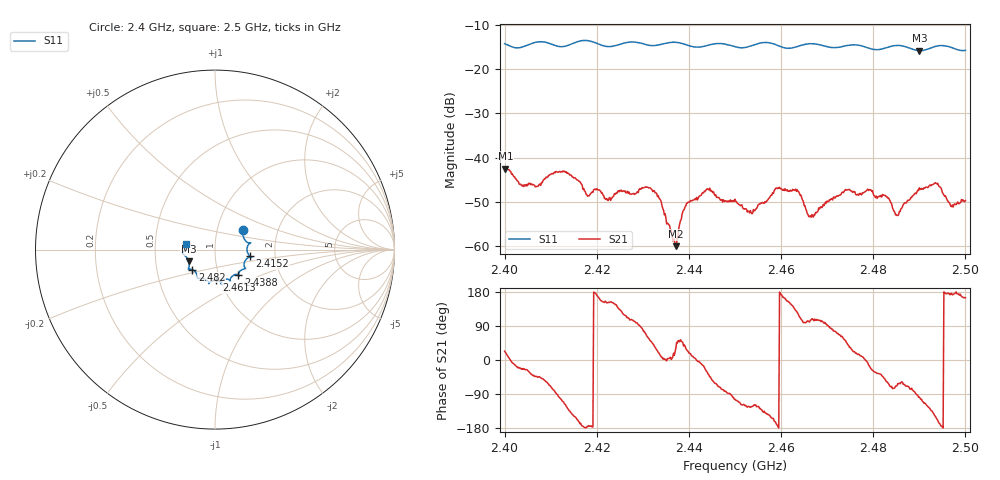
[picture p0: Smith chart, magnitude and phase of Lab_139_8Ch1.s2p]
# Hz S RI R 50
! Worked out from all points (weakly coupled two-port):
!   601 points, 2.4 GHz to 2.5 GHz, reference 50 ohm
!   highest |S21| = -42.47 dB at 2.4002 GHz (marker M1); lowest = -60.0 dB at 2.4372 GHz (marker M2)
!   lowest |S11| = -15.9 dB at 2.49 GHz (marker M3), VSWR 1.38, Z = 36.9 - j4.87 ohm
!   |S11| at or under -10 dB: start of sweep to end of sweep
!   S12 and S22 are empty: the file has one direction only
!   S11 on the Smith chart (normalised r, x): 2.4 GHz: 1.33, +0.31; 2.4152 GHz: 1.48, -0.11; 2.4388 GHz: 1.24, -0.36; 2.4613 GHz: 0.96, -0.34; 2.482 GHz: 0.76, -0.17; 2.5 GHz: 0.72, +0.05
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2.4e9  0.1573 0.1119  0.00687 0.00296  0 0  0 0
2.400167e9  0.1567 0.1098  0.00705 0.00262  0 0  0 0
2.404e9  0.1708 0.0482  0.00446 -0.00205  0 0  0 0
2.415167e9  0.194 -0.0371  -0.00507 -0.00306  0 0  0 0
2.416667e9  0.2037 -0.0436  -0.00495 -0.000712  0 0  0 0
2.422167e9  0.1683 -0.0615  -0.00302 0.00167  0 0  0 0
2.433333e9  0.1322 -0.1315  0.00348 0.00129  0 0  0 0
2.437167e9  0.135 -0.147  0.00085 0.000525  0 0  0 0
2.438833e9  0.1298 -0.1409  0.00204 0.00153  0 0  0 0
2.444e9  0.0851 -0.1633  0.00372 -0.00242  0 0  0 0
2.45e9  0.0686 -0.1648  -0.000803 -0.00328  0 0  0 0
2.453667e9  0.0354 -0.1803  -0.00127 -0.00194  0 0  0 0
2.461333e9  0.00768 -0.1708  -0.00393 0.00183  0 0  0 0
2.466667e9  -0.0346 -0.1899  -0.000718 0.00215  0 0  0 0
2.474333e9  -0.0893 -0.1608  0.00311 0.00297  0 0  0 0
2.482e9  -0.126 -0.1118  0.00281 -0.00259  0 0  0 0
2.483333e9  -0.1398 -0.1088  0.00159 -0.00311  0 0  0 0
2.485333e9  -0.149 -0.1088  0.00103 -0.00196  0 0  0 0
2.49e9  -0.1473 -0.0643  -0.000626 -0.00451  0 0  0 0
2.493667e9  -0.1792 -0.0233  -0.00456 -0.00234  0 0  0 0
2.496833e9  -0.1751 -0.0124  -0.00281 0.000249  0 0  0 0
2.5e9  -0.159 0.0326  -0.00314 0.000885  0 0  0 0
